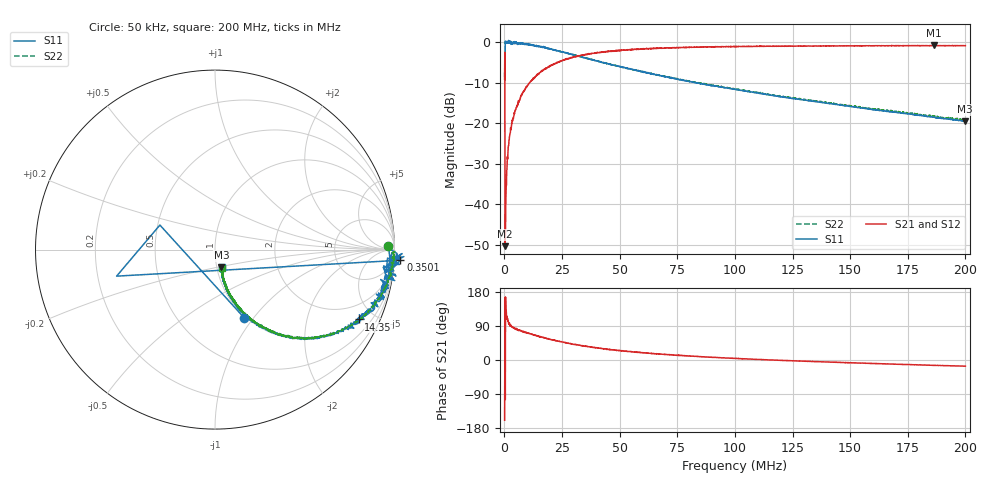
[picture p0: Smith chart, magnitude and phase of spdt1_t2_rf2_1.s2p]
! 26-Feb-26 10:41:28 AM
! E:\VNA_MEASUREMENTS\SPDT1\SPDT1_T2_RF2_1.S2P
! CHANNEL.1
! TR.MEASUREMENT
! CORRECTED.DATA
# GHZ S RI R 50.0
! FREQ.GHZ  S11RE  S11IM  S21RE  S21IM  S12RE  S12IM  S22RE  S22IM
!; PortSelection: Port_12
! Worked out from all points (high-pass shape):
!   2000 points, 50 kHz to 200 MHz, reference 50 ohm
!   highest |S21| = -0.78 dB at 186.4 MHz (marker M1); lowest = -50.3 dB at 250 kHz (marker M2)
!   |S21| within 3 dB of the highest: 29.15 MHz to 29.41 MHz (262.8 kHz wide, 0.897 % of centre); 29.5 MHz to end of sweep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
!   lowest |S11| = -19.5 dB at 199.8 MHz (marker M3), VSWR 1.24, Z = 52.7 - j10.6 ohm
!   |S11| at or under -10 dB: 83.06377 MHz to 83.08396 MHz (20.19 kHz wide, 0.0243 % of centre); 83.39 MHz to end of sweep
!   |S22| runs from -19.3 to 0.1 dB; largest |S21 - S12| = 0.75
!   S11 on the Smith chart (normalised r, x): 50 kHz: 0.98, -0.90; 350.1 kHz: -15, -26; 14.35 MHz: 1.08, -4.08; 200 MHz: 1.05, -0.21
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5e-05  0.1623 -0.3796  -0.3285 -0.1263  0.00534 0.00228  0.9665 0.0225
0.00025005  -0.5481 -0.1479  -0.00296 0.000763  0.000968 0.00231  1.002 -0.0105
0.000350075  1.033 -0.0593  -0.000945 -0.00369  -0.00132 0.00803  0.9871 -0.0201
0.001150275  0.9859 -0.0173  -0.014 0.0297  -0.00169 0.033  0.9874 -0.0369
0.0012503  0.9813 -0.0412  -0.0115 0.0371  -0.00097 0.0364  0.9954 -0.0434
0.001350325  0.9838 -0.0745  -0.012 0.0341  -0.000194 0.0398  0.9859 -0.0468
0.0016504  1.01 -0.0494  -0.0117 0.051  -0.000101 0.0488  0.9895 -0.0507
0.002150525  1.042 -0.0221  -0.00929 0.0679  2.43e-05 0.065  0.9825 -0.0719
0.002950725  0.9372 -0.0994  0.00215 0.0884  0.00413 0.0876  0.9911 -0.0953
0.004051001  0.9653 -0.1494  0.0116 0.1219  0.0129 0.1206  0.9745 -0.1276
0.008052001  0.9347 -0.2575  0.0631 0.2352  0.0619 0.2326  0.9263 -0.2473
0.01435358  0.8015 -0.389  0.178 0.3559  0.1778 0.3541  0.8065 -0.3846
0.02295573  0.6274 -0.4759  0.3611 0.4327  0.3644 0.4361  0.6258 -0.4767
0.03345835  0.4384 -0.4903  0.551 0.4222  0.5428 0.4246  0.4389 -0.4956
0.04576143  0.2959 -0.4496  0.6824 0.3626  0.6803 0.3607  0.2975 -0.4491
0.06676668  0.1638 -0.3596  0.8118 0.239  0.8111 0.2347  0.1632 -0.357
0.100075  0.0798 -0.2515  0.8876 0.063  0.8848 0.0612  0.085 -0.2547
0.1333833  0.0504 -0.1818  0.8967 -0.0581  0.893 -0.0573  0.0526 -0.1845
0.1666917  0.0382 -0.1349  0.8917 -0.1654  0.8906 -0.1658  0.0418 -0.1362
0.1863966  0.0346 -0.1141  0.8856 -0.2268  0.8792 -0.2213  0.0348 -0.1188
0.1998  0.0362 -0.0995  0.8711 -0.2547  0.8664 -0.2553  0.0378 -0.1026
0.2  0.0366 -0.0997  0.872 -0.2522  0.8682 -0.2558  0.0388 -0.1045
